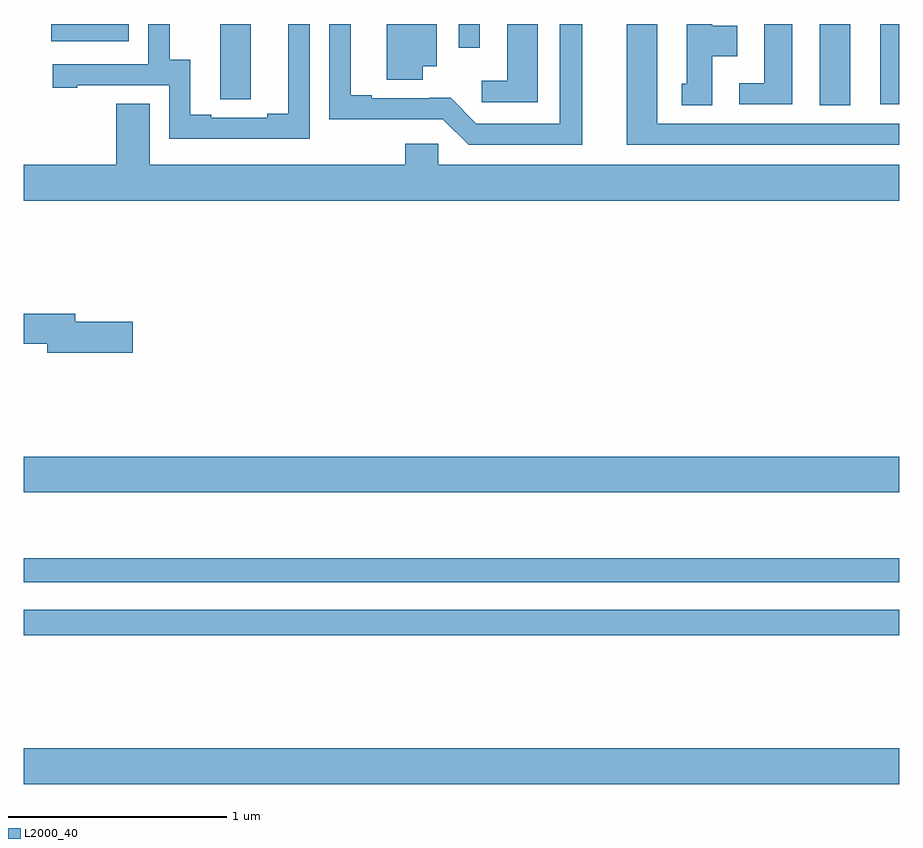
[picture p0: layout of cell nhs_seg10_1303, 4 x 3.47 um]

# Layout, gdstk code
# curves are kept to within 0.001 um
import gdstk
lib = gdstk.Library(unit=1e-6, precision=1e-09)
def R(c, l, rs):  # rectangles x0, y0, x1, y1
    for r in rs: c.add(gdstk.rectangle(r[:2], r[2:], *l))
def P(c, l, *ps):  # polygons
    for p in ps: c.add(gdstk.Polygon(p, *l))
L2000_40 = (2000, 40)

nhs_seg10_1303 = lib.new_cell('nhs_seg10_1303')
R(nhs_seg10_1303, L2000_40, [(179,1255.028,183,1255.192), (179,1255.708,183,1255.824), (179,1255.95,183,1256.059), (179,1256.36,183,1256.524), (182.636,1258.129,182.776,1258.5), (182.912,1258.133,183,1258.5), (180.987,1258.392,181.083,1258.5), (179.126,1258.421,179.479,1258.5)])
P(nhs_seg10_1303, L2000_40, [(181.552,1258.5),(181.448,1258.5),(181.448,1258.044),(181.068,1258.044),(180.95,1258.162),(180.589,1258.161),(180.589,1258.174),(180.493,1258.174),(180.493,1258.5),(180.396,1258.5),(180.396,1258.064),(180.915,1258.065),(181.032,1257.948),(181.552,1257.948)],
  [(180.823,1258.307),(180.886,1258.307),(180.886,1258.5),(180.659,1258.5),(180.659,1258.246),(180.823,1258.246)],
  [(181.348,1258.5),(181.208,1258.5),(181.208,1258.24),(181.092,1258.24),(181.092,1258.143),(181.348,1258.143)],
  [(182.512,1258.5),(182.384,1258.5),(182.384,1258.23),(182.268,1258.23),(182.268,1258.134),(182.512,1258.134)],
  [(180.037,1258.5),(179.897,1258.5),(179.897,1258.264),(179.898,1258.264),(179.898,1258.156),(180.037,1258.156)],
  [(180.306,1258.5),(180.209,1258.5),(180.209,1258.091),(180.113,1258.091),(180.113,1258.071),(179.857,1258.071),(179.857,1258.086),(179.761,1258.086),(179.761,1258.337),(179.667,1258.337),(179.667,1258.5),(179.568,1258.5),(179.568,1258.317),(179.133,1258.317),(179.133,1258.209),(179.245,1258.209),(179.245,1258.221),(179.664,1258.221),(179.664,1257.975),(180.306,1257.975)],
  [(182.146,1258.352),(182.26,1258.352),(182.26,1258.492),(182.146,1258.492),(182.146,1258.5),(182.03,1258.5),(182.03,1258.227),(182.006,1258.227),(182.006,1258.129),(182.146,1258.129)],
  [(183,1258.044),(181.894,1258.044),(181.894,1258.5),(181.754,1258.5),(181.754,1257.948),(183,1257.948)],
  [(183,1257.856),(180.894,1257.856),(180.894,1257.954),(180.743,1257.954),(180.743,1257.856),(179.575,1257.856),(179.575,1258.136),(179.423,1258.136),(179.423,1257.856),(179,1257.856),(179,1257.692),(183,1257.692)],
  [(179.497,1257.14),(179.236,1257.14),(179.236,1257.176),(179,1257.176),(179,1257.04),(179.108,1257.04),(179.108,1256.998),(179.497,1256.998)])

lib.write_gds('nhs_seg10_1303.gds')
